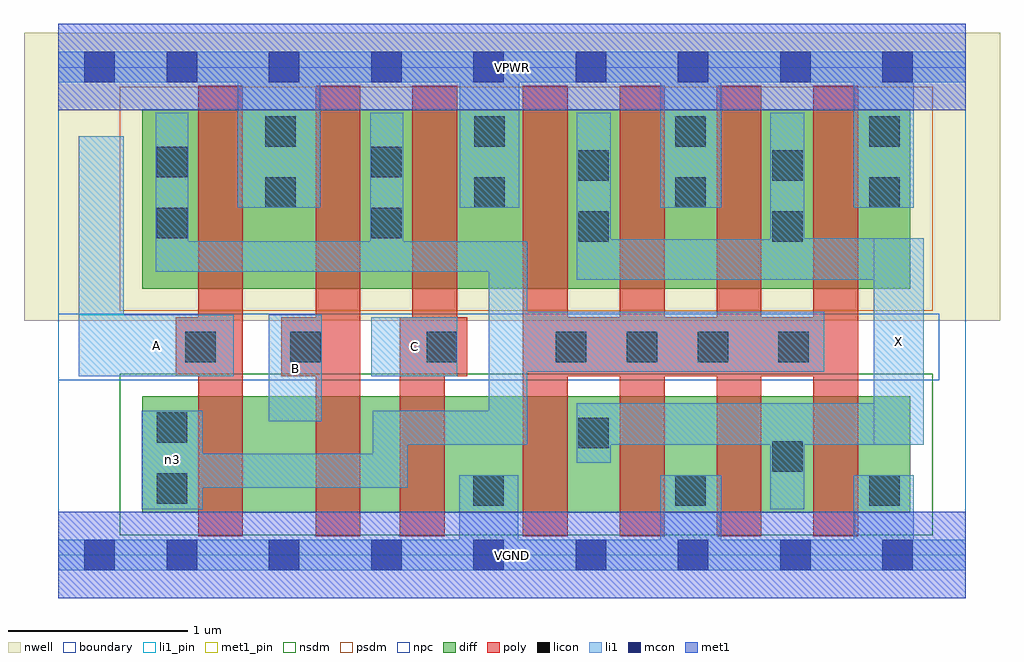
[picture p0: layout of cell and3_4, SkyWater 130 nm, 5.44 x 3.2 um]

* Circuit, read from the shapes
.subckt and3_4 A B C VGND VPWR X n3
XM1 n1 A n3 VSUBS sky130_fd_pr__nfet_01v8 w=0.65 l=0.25
XM2 n2 B n1 VSUBS sky130_fd_pr__nfet_01v8 w=0.65 l=0.25
XM3 VGND C n2 VSUBS sky130_fd_pr__nfet_01v8 w=0.65 l=0.25
XM4 X n3 VGND VSUBS sky130_fd_pr__nfet_01v8 w=0.65 l=0.25 m=4
XM5 VPWR A n3 n4 sky130_fd_pr__pfet_01v8 w=1 l=0.25
XM6 n3 B VPWR n4 sky130_fd_pr__pfet_01v8 w=1 l=0.25
XM7 VPWR C n3 n4 sky130_fd_pr__pfet_01v8 w=1 l=0.25
XM8 X n3 VPWR n4 sky130_fd_pr__pfet_01v8 w=1 l=0.25 m=4
.ends

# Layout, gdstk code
import gdstk
lib = gdstk.Library(unit=1e-6, precision=1e-09)
def R(c, l, rs):  # rectangles x0, y0, x1, y1
    for r in rs: c.add(gdstk.rectangle(r[:2], r[2:], *l))
def A(c, l, x, y, w, h, nx, ny, dx, dy):  # array of equal rectangles
    R(c, l, [(x+i*dx, y+j*dy, x+i*dx+w, y+j*dy+h) for i in range(nx) for j in range(ny)])
nwell = (64, 20)
diff = (65, 20)
poly = (66, 20)
licon = (66, 44)
li1_pin = (67, 16)
li1 = (67, 20)
mcon = (67, 44)
met1_pin = (68, 16)
met1 = (68, 20)
nsdm = (93, 44)
psdm = (94, 20)
npc = (95, 20)
boundary = (235, 4)

and3_4 = lib.new_cell('and3_4')
R(and3_4, nwell, [(-0.19,1.305,5.25,2.91), (0,1.305,5.06,2.91)])
R(and3_4, diff, [(0.47,0.235,4.75,0.885), (0.47,1.485,4.75,2.485)])
A(and3_4, poly, 2.59, 0.105, 0.25, 2.51, 4, 1, 0.54, 0)
R(and3_4, poly, [(0.78,0.105,1.03,2.615), (1.435,0.105,1.685,2.615), (1.905,0.105,2.155,1.325), (0.655,0.995,1.03,1.325), (1.245,0.995,1.685,1.325), (1.905,0.995,2.28,1.325), (1.975,0.995,2.225,2.615), (2.59,0.995,4.46,1.325)])
A(and3_4, licon, 2.775, 1.075, 0.17, 0.17, 3, 1, 0.395, 0)
R(and3_4, licon, [(2.315,0.275,2.485,0.445), (3.44,0.275,3.61,0.445), (4.52,0.275,4.69,0.445), (0.55,0.285,0.72,0.455), (3.98,0.465,4.15,0.635), (2.9,0.595,3.07,0.765), (0.55,0.625,0.72,0.795), (0.71,1.075,0.88,1.245), (1.295,1.075,1.465,1.245), (2.055,1.075,2.225,1.245), (4.015,1.075,4.185,1.245), (2.9,1.745,3.07,1.915), (3.98,1.745,4.15,1.915), (0.55,1.765,0.72,1.935), (1.745,1.765,1.915,1.935), (1.155,1.935,1.325,2.105), (2.32,1.935,2.49,2.105), (3.44,1.935,3.61,2.105), (4.52,1.935,4.69,2.105), (2.9,2.085,3.07,2.255), (3.98,2.085,4.15,2.255), (0.55,2.105,0.72,2.275), (1.745,2.105,1.915,2.275), (1.155,2.275,1.325,2.445), (2.32,2.275,2.49,2.445), (3.44,2.275,3.61,2.445), (4.52,2.275,4.69,2.445)])
R(and3_4, li1_pin, [(4.545,0.615,4.825,1.765), (1.175,0.745,1.47,1.34), (0.115,0.995,0.98,1.34), (1.745,0.995,2.225,1.325)])
R(and3_4, li1, [(0,-0.085,5.06,0.085), (2.235,-0.085,2.565,0.445), (3.355,-0.085,3.695,0.445), (4.435,-0.085,4.77,0.445), (0.465,0.255,0.805,0.805), (3.97,0.255,4.16,0.845), (0.465,0.375,1.95,0.565), (1.755,0.375,1.95,0.805), (2.89,0.515,3.08,0.845), (1.755,0.615,2.615,0.805), (2.4,0.615,2.615,1.75), (2.89,0.615,4.825,0.845), (4.545,0.615,4.825,1.765), (1.175,0.745,1.47,1.34), (0.115,0.995,0.365,2.335), (0.115,0.995,0.98,1.34), (1.745,0.995,2.225,1.325), (2.4,1.02,4.27,1.355), (2.89,1.535,4.825,1.76), (2.89,1.535,3.08,2.465), (3.97,1.535,4.16,2.465), (3.97,1.535,4.825,1.765), (0.545,1.58,2.615,1.75), (0.545,1.58,0.725,2.465), (1.74,1.58,1.925,2.465), (1,1.935,1.46,2.805), (2.24,1.935,2.57,2.805), (3.355,1.935,3.695,2.805), (4.435,1.935,4.77,2.805), (0,2.635,5.06,2.805)])
A(and3_4, mcon, 0.605, -0.085, 0.17, 0.17, 8, 2, 0.57, 2.72)
R(and3_4, mcon, [(0.145,-0.085,0.315,0.085), (0.145,2.635,0.315,2.805)])
R(and3_4, met1_pin, [(0,-0.24,5.06,0.24), (0,2.48,5.06,2.96)])
R(and3_4, met1, [(0,-0.24,5.06,0.24), (0,2.48,5.06,2.96)])
R(and3_4, nsdm, [(0.345,0.11,4.875,1.01)])
R(and3_4, psdm, [(0.345,1.36,4.875,2.61)])
R(and3_4, npc, [(0,0.975,4.91,1.345)])
R(and3_4, boundary, [(0,0,5.06,2.72)])
and3_4.add(gdstk.Label('A', (0.547,1.167), layer=67, texttype=5))
and3_4.add(gdstk.Label('B', (1.322,1.042), layer=67, texttype=5))
and3_4.add(gdstk.Label('C', (1.985,1.16), layer=67, texttype=5))
and3_4.add(gdstk.Label('X', (4.685,1.19), layer=67, texttype=5))
and3_4.add(gdstk.Label('n3', (0.635,0.53), layer=67, texttype=5))
and3_4.add(gdstk.Label('VPWR', (2.53,2.72), layer=68, texttype=5))
and3_4.add(gdstk.Label('VGND', (2.53,0), layer=68, texttype=5))
and3_4.add(gdstk.Label('A', (0.547,1.167), layer=67, texttype=16))
and3_4.add(gdstk.Label('B', (1.322,1.042), layer=67, texttype=16))
and3_4.add(gdstk.Label('C', (1.985,1.16), layer=67, texttype=16))
and3_4.add(gdstk.Label('X', (4.685,1.19), layer=67, texttype=16))
and3_4.add(gdstk.Label('VPWR', (2.53,2.72), layer=68, texttype=16))
and3_4.add(gdstk.Label('VGND', (2.53,0), layer=68, texttype=16))

lib.write_gds('and3_4.gds')
